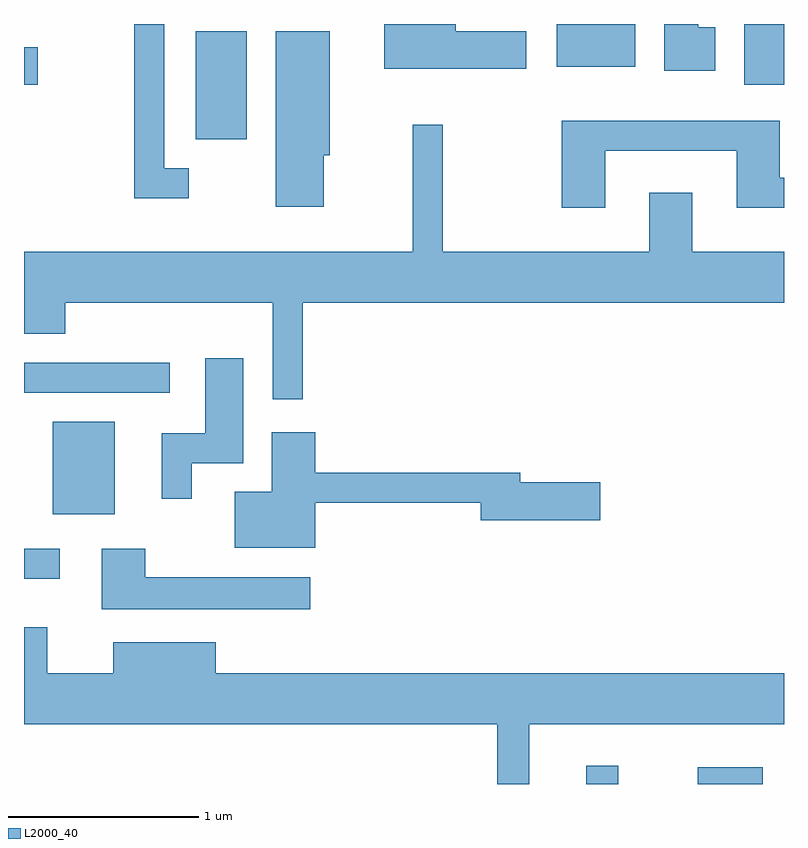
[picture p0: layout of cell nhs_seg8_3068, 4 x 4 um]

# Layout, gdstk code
import gdstk
lib = gdstk.Library(unit=1e-6, precision=1e-09)
def R(c, l, rs):  # rectangles x0, y0, x1, y1
    for r in rs: c.add(gdstk.rectangle(r[:2], r[2:], *l))
def P(c, l, *ps):  # polygons
    for p in ps: c.add(gdstk.Polygon(p, *l))
L2000_40 = (2000, 40)

nhs_seg8_3068 = lib.new_cell('nhs_seg8_3068')
R(nhs_seg8_3068, L2000_40, [(280.571,1818.342,280.739,1818.438), (281.156,1818.342,281.499,1818.429), (277.611,1819.421,277.798,1819.579), (277.761,1819.761,278.089,1820.249), (277.611,1820.401,278.378,1820.559), (278.516,1821.736,278.784,1822.304), (277.611,1822.021,277.684,1822.219), (281.401,1822.021,281.611,1822.342), (280.416,1822.116,280.829,1822.342)])
P(nhs_seg8_3068, L2000_40, [(278.478,1821.584),(278.349,1821.584),(278.349,1822.342),(278.191,1822.342),(278.191,1821.426),(278.478,1821.426)],
  [(280.254,1822.304),(279.884,1822.304),(279.884,1822.342),(279.506,1822.342),(279.506,1822.106),(280.254,1822.106)],
  [(281.249,1822.324),(281.159,1822.324),(281.159,1822.342),(280.981,1822.342),(280.981,1822.096),(281.249,1822.096)],
  [(279.189,1821.651),(279.219,1821.651),(279.219,1822.304),(278.936,1822.304),(278.936,1821.381),(279.189,1821.381)],
  [(280.669,1821.676),(281.361,1821.676),(281.361,1821.376),(281.611,1821.376),(281.611,1821.534),(281.589,1821.534),(281.589,1821.834),(280.441,1821.834),(280.441,1821.376),(280.669,1821.376)],
  [(279.079,1820.876),(281.611,1820.876),(281.611,1821.144),(281.129,1821.144),(281.129,1821.454),(280.901,1821.454),(280.901,1821.144),(279.814,1821.144),(279.814,1821.813),(279.656,1821.813),(279.656,1821.144),(277.611,1821.144),(277.611,1820.711),(277.829,1820.711),(277.829,1820.876),(278.921,1820.876),(278.921,1820.368),(279.079,1820.368)],
  [(278.494,1820.031),(278.764,1820.031),(278.764,1820.584),(278.566,1820.584),(278.566,1820.189),(278.336,1820.189),(278.336,1819.843),(278.494,1819.843)],
  [(279.144,1819.821),(280.016,1819.821),(280.016,1819.731),(280.644,1819.731),(280.644,1819.929),(280.224,1819.929),(280.224,1819.979),(279.144,1819.979),(279.144,1820.194),(278.916,1820.194),(278.916,1819.879),(278.721,1819.879),(278.721,1819.586),(279.144,1819.586)],
  [(279.118,1819.429),(278.249,1819.429),(278.249,1819.579),(278.021,1819.579),(278.021,1819.261),(279.118,1819.261)],
  [(280.269,1818.656),(281.611,1818.656),(281.611,1818.924),(278.619,1818.924),(278.619,1819.089),(278.081,1819.089),(278.081,1818.924),(277.734,1818.924),(277.734,1819.168),(277.611,1819.168),(277.611,1818.656),(280.101,1818.656),(280.101,1818.342),(280.269,1818.342)])

lib.write_gds('nhs_seg8_3068.gds')
